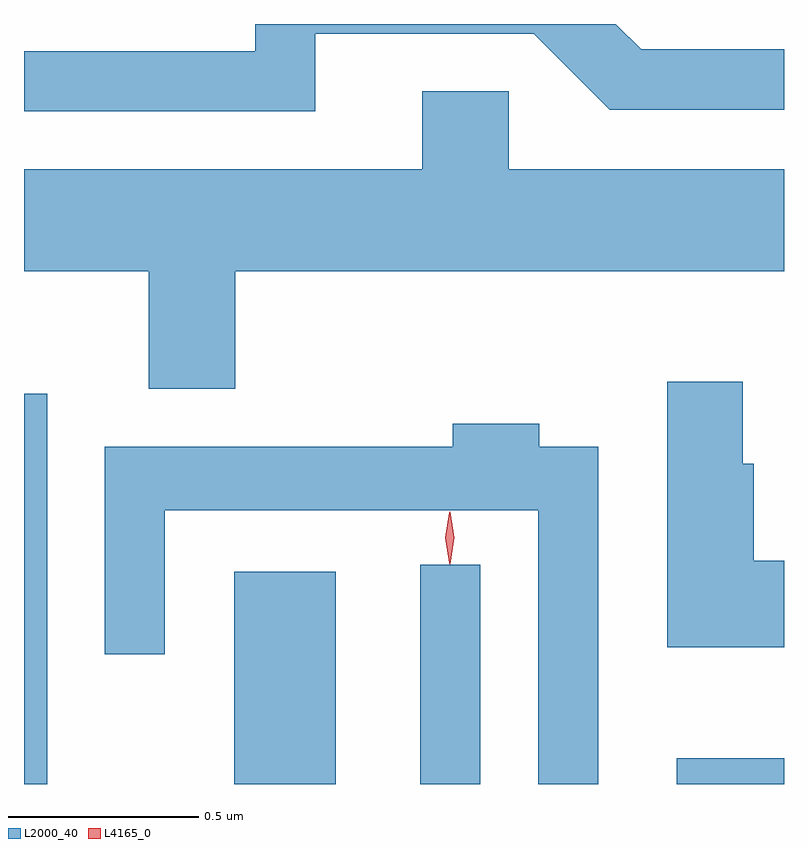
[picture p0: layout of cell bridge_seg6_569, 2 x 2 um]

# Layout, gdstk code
import gdstk
lib = gdstk.Library(unit=1e-6, precision=1e-09)
def R(c, l, rs):  # rectangles x0, y0, x1, y1
    for r in rs: c.add(gdstk.rectangle(r[:2], r[2:], *l))
def P(c, l, *ps):  # polygons
    for p in ps: c.add(gdstk.Polygon(p, *l))
L2000_40 = (2000, 40)
L4165_0 = (4165, 0)

bridge_seg6_569 = lib.new_cell('bridge_seg6_569')
R(bridge_seg6_569, L2000_40, [(484.813,1635.266,484.874,1636.293), (485.366,1635.266,485.634,1635.824), (485.856,1635.266,486.014,1635.843), (486.531,1635.266,486.813,1635.334)])
P(bridge_seg6_569, L2000_40, [(485.579,1637.241),(486.154,1637.241),(486.354,1637.041),(486.813,1637.041),(486.813,1637.199),(486.437,1637.199),(486.37,1637.266),(485.421,1637.266),(485.421,1637.194),(484.813,1637.194),(484.813,1637.036),(485.579,1637.036)],
  [(485.369,1636.616),(486.813,1636.616),(486.813,1636.884),(486.089,1636.884),(486.089,1637.089),(485.861,1637.089),(485.861,1636.884),(484.813,1636.884),(484.813,1636.616),(485.141,1636.616),(485.141,1636.306),(485.369,1636.306)],
  [(486.813,1635.854),(486.734,1635.854),(486.734,1636.109),(486.704,1636.109),(486.704,1636.324),(486.506,1636.324),(486.506,1635.626),(486.813,1635.626)],
  [(486.324,1636.154),(486.169,1636.154),(486.169,1636.214),(485.941,1636.214),(485.941,1636.154),(485.026,1636.154),(485.026,1635.608),(485.184,1635.608),(485.184,1635.986),(486.166,1635.986),(486.166,1635.266),(486.324,1635.266)])
P(bridge_seg6_569, L4165_0, [(485.934,1635.844),(485.925,1635.914),(485.934,1635.982),(485.935,1635.983),(485.935,1635.982),(485.945,1635.914),(485.935,1635.844),(485.935,1635.844)],
  [(485.932,1635.847),(485.932,1635.848),(485.922,1635.914),(485.932,1635.98),(485.932,1635.98),(485.932,1635.98),(485.942,1635.914),(485.933,1635.848)])

lib.write_gds('bridge_seg6_569.gds')
